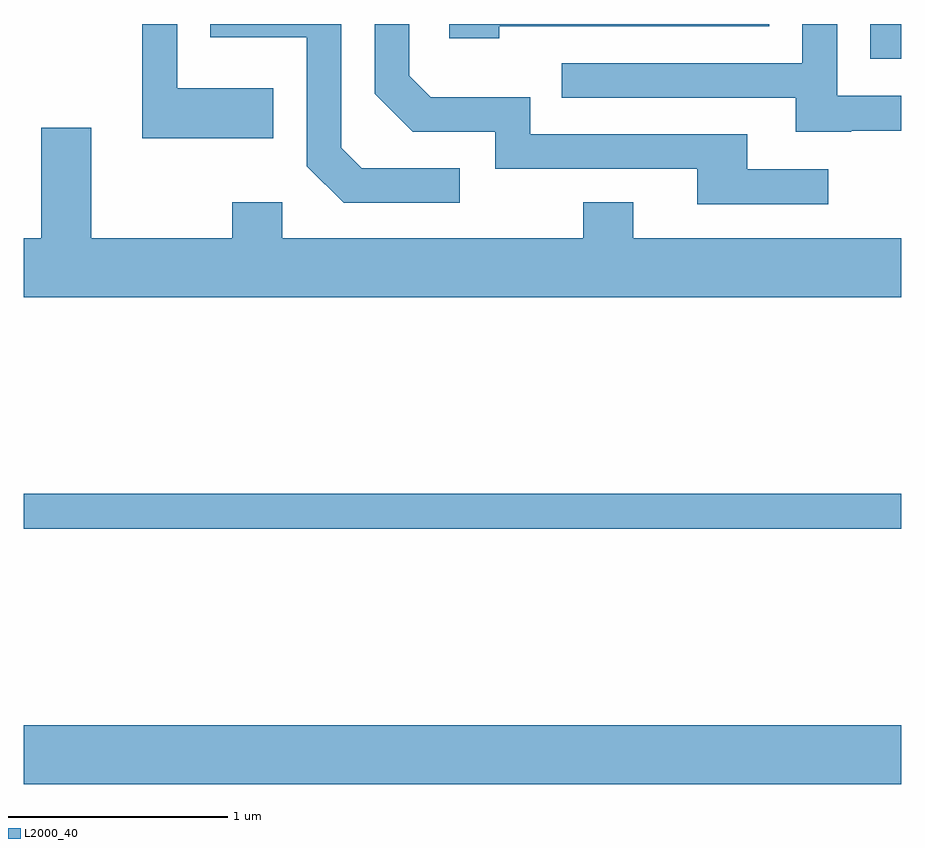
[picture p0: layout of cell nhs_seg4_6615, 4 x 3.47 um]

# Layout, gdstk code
import gdstk
lib = gdstk.Library(unit=1e-6, precision=1e-09)
def R(c, l, rs):  # rectangles x0, y0, x1, y1
    for r in rs: c.add(gdstk.rectangle(r[:2], r[2:], *l))
def P(c, l, *ps):  # polygons
    for p in ps: c.add(gdstk.Polygon(p, *l))
L2000_40 = (2000, 40)

nhs_seg4_6615 = lib.new_cell('nhs_seg4_6615')
R(nhs_seg4_6615, L2000_40, [(379.611,1292.516,383.611,1292.784), (379.611,1293.681,383.611,1293.839), (383.471,1295.823,383.611,1295.982)])
P(nhs_seg4_6615, L2000_40, [(381.598,1295.324),(381.152,1295.324),(381.059,1295.417),(381.059,1295.982),(380.461,1295.982),(380.461,1295.921),(380.901,1295.921),(380.901,1295.334),(381.069,1295.166),(381.598,1295.166)],
  [(381.779,1295.971),(383.009,1295.971),(383.009,1295.982),(381.551,1295.982),(381.551,1295.916),(381.779,1295.916)],
  [(380.749,1295.689),(380.309,1295.689),(380.309,1295.982),(380.151,1295.982),(380.151,1295.461),(380.749,1295.461)],
  [(383.385,1295.496),(383.611,1295.496),(383.611,1295.654),(383.319,1295.654),(383.319,1295.982),(383.161,1295.982),(383.161,1295.804),(382.063,1295.804),(382.063,1295.646),(383.131,1295.646),(383.131,1295.491),(383.385,1295.491)],
  [(383.278,1295.319),(382.909,1295.319),(382.909,1295.479),(381.919,1295.479),(381.919,1295.649),(381.467,1295.649),(381.369,1295.747),(381.369,1295.982),(381.211,1295.982),(381.211,1295.664),(381.384,1295.491),(381.761,1295.491),(381.761,1295.321),(382.681,1295.321),(382.681,1295.161),(383.278,1295.161)],
  [(383.611,1295.004),(382.389,1295.004),(382.389,1295.169),(382.161,1295.169),(382.161,1295.004),(380.789,1295.004),(380.789,1295.169),(380.561,1295.169),(380.561,1295.004),(379.919,1295.004),(379.919,1295.509),(379.691,1295.509),(379.691,1295.004),(379.611,1295.004),(379.611,1294.736),(383.611,1294.736)])

lib.write_gds('nhs_seg4_6615.gds')
